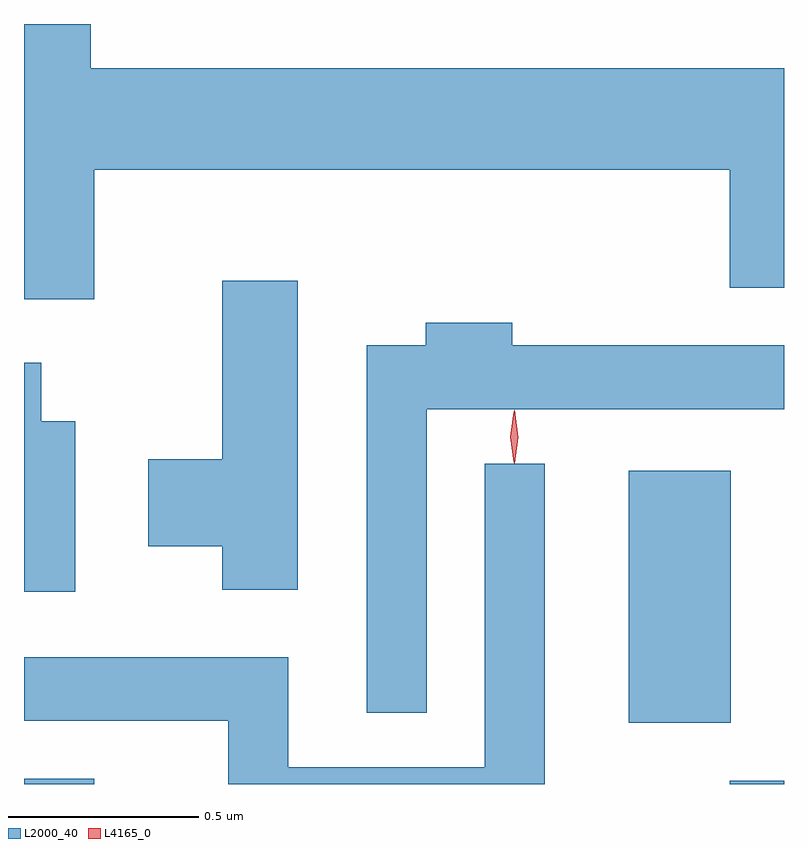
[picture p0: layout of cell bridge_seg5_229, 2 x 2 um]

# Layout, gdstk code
import gdstk
lib = gdstk.Library(unit=1e-6, precision=1e-09)
def R(c, l, rs):  # rectangles x0, y0, x1, y1
    for r in rs: c.add(gdstk.rectangle(r[:2], r[2:], *l))
def P(c, l, *ps):  # polygons
    for p in ps: c.add(gdstk.Polygon(p, *l))
L2000_40 = (2000, 40)
L4165_0 = (4165, 0)

bridge_seg5_229 = lib.new_cell('bridge_seg5_229')
R(bridge_seg5_229, L2000_40, [(1277.044,1421.88,1277.229,1421.894), (1278.901,1421.88,1279.044,1421.889), (1278.636,1422.041,1278.904,1422.704)])
P(bridge_seg5_229, L2000_40, [(1277.229,1423.496),(1278.901,1423.496),(1278.901,1423.186),(1279.044,1423.186),(1279.044,1423.764),(1277.219,1423.764),(1277.219,1423.88),(1277.044,1423.88),(1277.044,1423.156),(1277.229,1423.156)],
  [(1277.764,1423.204),(1277.566,1423.204),(1277.566,1422.734),(1277.371,1422.734),(1277.371,1422.506),(1277.566,1422.506),(1277.566,1422.391),(1277.764,1422.391)],
  [(1278.104,1422.866),(1279.044,1422.866),(1279.044,1423.034),(1278.329,1423.034),(1278.329,1423.094),(1278.101,1423.094),(1278.101,1423.034),(1277.946,1423.034),(1277.946,1422.068),(1278.104,1422.068)],
  [(1277.179,1422.834),(1277.089,1422.834),(1277.089,1422.989),(1277.044,1422.989),(1277.044,1422.386),(1277.179,1422.386)],
  [(1278.414,1422.723),(1278.256,1422.723),(1278.256,1421.924),(1277.739,1421.924),(1277.739,1422.214),(1277.044,1422.214),(1277.044,1422.046),(1277.581,1422.046),(1277.581,1421.88),(1278.414,1421.88)])
P(bridge_seg5_229, L4165_0, [(1278.333,1422.727),(1278.323,1422.794),(1278.333,1422.86),(1278.333,1422.86),(1278.334,1422.86),(1278.343,1422.794),(1278.334,1422.727),(1278.334,1422.727)],
  [(1278.334,1422.724),(1278.334,1422.724),(1278.324,1422.793),(1278.334,1422.863),(1278.334,1422.863),(1278.335,1422.863),(1278.344,1422.793),(1278.335,1422.724)])

lib.write_gds('bridge_seg5_229.gds')
